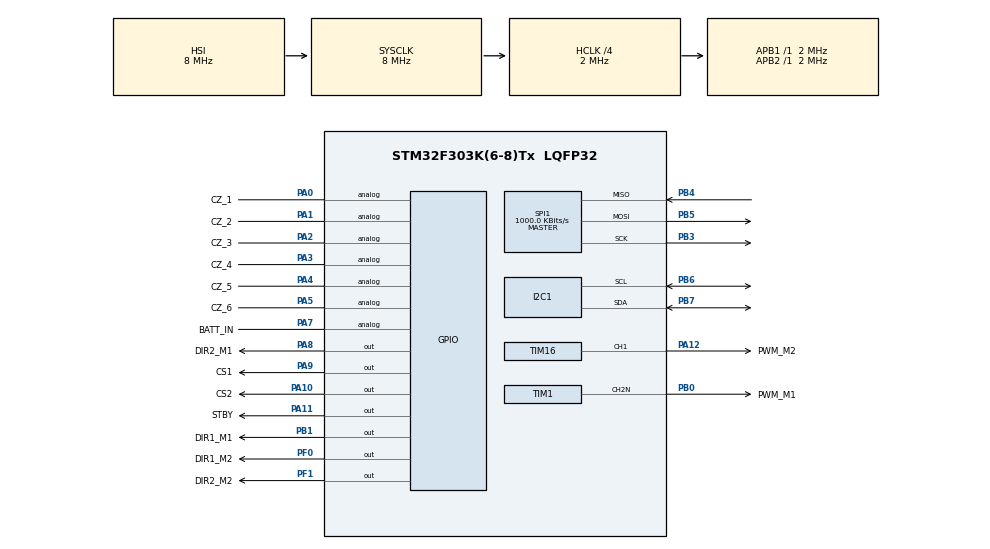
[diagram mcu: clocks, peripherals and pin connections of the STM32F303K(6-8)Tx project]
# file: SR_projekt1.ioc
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Mcu.Family=STM32F3
Mcu.Name=STM32F303K(6-8)Tx
Mcu.Package=LQFP32
NVIC.PriorityGroup=NVIC_PRIORITYGROUP_4
PA0.GPIO_Label=CZ_1
PA0.Signal=SharedAnalog_PA0
PA1.GPIO_Label=CZ_2
PA1.Signal=SharedAnalog_PA1
PA10.GPIO_Label=CS2
PA10.Signal=GPIO_Output
PA11.GPIO_Label=STBY
PA11.Signal=GPIO_Output
PA12.GPIO_Label=PWM_M2
PA12.Signal=S_TIM16_CH1
PA2.GPIO_Label=CZ_3
PA2.Signal=SharedAnalog_PA2
PA3.GPIO_Label=CZ_4
PA3.Signal=SharedAnalog_PA3
PA4.GPIO_Label=CZ_5
PA4.Signal=SharedAnalog_PA4
PA5.GPIO_Label=CZ_6
PA5.Signal=SharedAnalog_PA5
PA7.GPIO_Label=BATT_IN
PA7.Signal=SharedAnalog_PA7
PA8.GPIO_Label=DIR2_M1
PA8.Signal=GPIO_Output
PA9.GPIO_Label=CS1
PA9.Signal=GPIO_Output
PB0.GPIO_Label=PWM_M1
PB0.Mode=PWM Generation2 CH2N
PB0.Signal=TIM1_CH2N
PB1.GPIO_Label=DIR1_M1
PB1.Signal=GPIO_Output
PB3.Mode=Full_Duplex_Master
PB3.Signal=SPI1_SCK
PB4.Mode=Full_Duplex_Master
PB4.Signal=SPI1_MISO
PB5.Mode=Full_Duplex_Master
PB5.Signal=SPI1_MOSI
PB6.Mode=I2C
PB6.Signal=I2C1_SCL
PB7.Mode=I2C
PB7.Signal=I2C1_SDA
PF0\ /\ OSC_IN.GPIO_Label=DIR1_M2
PF0\ /\ OSC_IN.Signal=GPIO_Output
PF1\ /\ OSC_OUT.GPIO_Label=DIR2_M2
PF1\ /\ OSC_OUT.Signal=GPIO_Output
ProjectManager.HeapSize=0x200
ProjectManager.StackSize=0x400
ProjectManager.TargetToolchain=STM32CubeIDE
RCC.AHBCLKDivider=RCC_SYSCLK_DIV4
RCC.AHBFreq_Value=2000000
RCC.APB1Freq_Value=2000000
RCC.APB1TimFreq_Value=2000000
RCC.APB2Freq_Value=2000000
RCC.APB2TimFreq_Value=2000000
RCC.CortexFreq_Value=2000000
RCC.HCLKFreq_Value=2000000
RCC.HSE_VALUE=8000000
RCC.HSI_VALUE=8000000
RCC.SYSCLKFreq_VALUE=8000000
SH.S_TIM16_CH1.0=TIM16_CH1,PWM Generation1 CH1
SH.SharedAnalog_PA0.0=GPIO_Analog
SH.SharedAnalog_PA0.1=ADC1_IN1
SH.SharedAnalog_PA1.0=GPIO_Analog
SH.SharedAnalog_PA1.1=ADC1_IN2
SH.SharedAnalog_PA2.0=GPIO_Analog
SH.SharedAnalog_PA2.1=ADC1_IN3
SH.SharedAnalog_PA3.0=GPIO_Analog
SH.SharedAnalog_PA3.1=ADC1_IN4
SH.SharedAnalog_PA4.0=GPIO_Analog
SH.SharedAnalog_PA4.1=ADC2_IN1
SH.SharedAnalog_PA5.0=GPIO_Analog
SH.SharedAnalog_PA5.1=ADC2_IN2
SH.SharedAnalog_PA7.0=ADC2_IN4
SH.SharedAnalog_PA7.1=GPIO_Analog
SPI1.CalculateBaudRate=1000.0 KBits/s
SPI1.Direction=SPI_DIRECTION_2LINES
SPI1.Mode=SPI_MODE_MASTER
SPI1.VirtualType=VM_MASTER
TIM1.Channel-PWM\ Generation2\ CH2N=TIM_CHANNEL_2
TIM16.Channel=TIM_CHANNEL_1
VP_TIM16_VS_ClockSourceINT.Mode=Enable_Timer
VP_TIM17_VS_ClockSourceINT.Mode=Enable_Timer
board=custom

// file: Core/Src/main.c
/* USER CODE BEGIN Header */
/**
  ******************************************************************************
  * @file           : main.c
  * @brief          : Main program body
  ******************************************************************************
  * @attention
  *
  * <h2><center>&copy; Copyright (c) 2021 STMicroelectronics.
  * All rights reserved.</center></h2>
  *
  * This software component is licensed by ST under BSD 3-Clause license,
  * the "License"; You may not use this file except in compliance with the
  * License. You may obtain a copy of the License at:
  *                        opensource.org/licenses/BSD-3-Clause
  *
  ******************************************************************************
  */
/* USER CODE END Header */
#include "main.h"
#include "i2c.h"
#include "spi.h"
#include "tim.h"
#include "gpio.h"

/* USER CODE BEGIN PD */
#define MCP_IODIR		0x00
#define MCP_IPOL		0x01
#define MCP_GPINTEN		0x02
#define MCP_DEFVAL		0x03
#define MCP_INTCON		0x04
#define MCP_IOCON		0x05
#define MCP_GPPU		0x06
#define MCP_INTF		0x07
#define MCP_INTCAP		0x08
#define MCP_GPIO		0x09
#define MCP_OLAT		0x0a

#define OUT1H HAL_GPIO_WritePin(GPIOB, GPIO_PIN_4, GPIO_PIN_SET)
#define OUT1L HAL_GPIO_WritePin(GPIOB, GPIO_PIN_4, GPIO_PIN_RESET)

#define OUT2H HAL_GPIO_WritePin(GPIOB, GPIO_PIN_5, GPIO_PIN_SET)
#define OUT2L HAL_GPIO_WritePin(GPIOB, GPIO_PIN_5, GPIO_PIN_RESET)

#define OUT3H HAL_GPIO_WritePin(GPIOA, GPIO_PIN_11, GPIO_PIN_SET)
#define OUT3L HAL_GPIO_WritePin(GPIOA, GPIO_PIN_11, GPIO_PIN_RESET)

#define OUT4H HAL_GPIO_WritePin(GPIOA, GPIO_PIN_8, GPIO_PIN_SET)
#define OUT4L HAL_GPIO_WritePin(GPIOA, GPIO_PIN_8, GPIO_PIN_RESET)

#define OUT5H HAL_GPIO_WritePin(GPIOF, GPIO_PIN_1, GPIO_PIN_SET)
#define OUT5L HAL_GPIO_WritePin(GPIOF, GPIO_PIN_1, GPIO_PIN_RESET)

#define OUT6H HAL_GPIO_WritePin(GPIOF, GPIO_PIN_0, GPIO_PIN_SET)
#define OUT6L HAL_GPIO_WritePin(GPIOF, GPIO_PIN_0, GPIO_PIN_RESET)

#define DEL 1000
/* USER CODE END PD */

void SystemClock_Config(void);

/* USER CODE BEGIN 0 */

uint8_t spi_sendrecv(uint8_t byte){
	uint8_t answer;
	HAL_SPI_TransmitReceive(&hspi1, &byte, &answer, 1, HAL_MAX_DELAY);
	return answer;
}

uint8_t mcp_read_reg(uint8_t addr){
	uint8_t tx_buf[] = { 0x41, addr, 0xFF };
	uint8_t rx_buf[3];

	HAL_GPIO_WritePin(GPIOA, GPIO_PIN_4, GPIO_PIN_RESET);
	HAL_SPI_TransmitReceive(&hspi1, tx_buf, rx_buf, 3, HAL_MAX_DELAY);
	HAL_GPIO_WritePin(GPIOA, GPIO_PIN_4, GPIO_PIN_SET);

	return rx_buf[2];
}

void mcp_write_reg(uint8_t addr, uint8_t value){
	uint8_t tx_buf[] = { 0x40, addr, value };

	HAL_GPIO_WritePin(GPIOA, GPIO_PIN_4, GPIO_PIN_RESET);
	HAL_SPI_Transmit(&hspi1, tx_buf, 3, HAL_MAX_DELAY);
	HAL_GPIO_WritePin(GPIOA, GPIO_PIN_4, GPIO_PIN_SET);
}

/* USER CODE END 0 */

int main(void)
{

  /* MCU Configuration--------------------------------------------------------*/

  /* Reset of all peripherals, Initializes the Flash interface and the Systick. */
  HAL_Init();

  /* Configure the system clock */
  SystemClock_Config();

  /* Initialize all configured peripherals */
  MX_GPIO_Init();
  MX_TIM16_Init();
  MX_TIM17_Init();
  MX_I2C1_Init();
  MX_TIM1_Init();
  MX_SPI1_Init();
  /* USER CODE BEGIN 2 */

	 __HAL_SPI_ENABLE(&hspi1);
	 //mcp_write_reg(MCP_IODIR, ~0x01);
	 mcp_write_reg(MCP_IODIR, 0xFF);
	 mcp_write_reg(MCP_GPPU, 0xFF);

	 volatile int dly=0;
	 uint8_t REG;
	 uint8_t order[] ={ 0x01 , 0x02 , 0x04 , 0x08 , 0x10 , 0x20 , 0x40 , 0x80 };

  /* USER CODE END 2 */

  /* Infinite loop */
  /* USER CODE BEGIN WHILE */
  while (1)
  {
	  /*
	  for( int i=0x00 ; i<=0x07 ; i++){
	  			mcp_write_reg(MCP_OLAT, i);
	  			HAL_Delay(DEL);
	  }*/

	  REG = mcp_read_reg(MCP_GPIO);
	   	  // Czujnik nr 1
	  for(int i=0 ; i<6 ; i++){
		  if((mcp_read_reg(MCP_GPIO) & order[i]) == order[i] )
			  switch(i){
			  case 0:
				  OUT1H;
				  break;
			  case 1:
				  OUT2H;
				  break;
			  case 2:
				  OUT3H;
				  break;
			  case 3:
				  OUT4H;
				  break;
			  case 4:
				  OUT5H;
				  break;
			  case 5:
				  OUT6H;
				  break;
			  }
		  else
			  switch(i){
			  case 0:
				  OUT1L;
				  break;
			  case 1:
				  OUT2L;
				  break;
			  case 2:
				  OUT3L;
				  break;
			  case 3:
				  OUT4L;
				  break;
			  case 4:
				  OUT5L;
				  break;
			  case 5:
				  OUT6L;
				  break;
			  }
	  }

	  /*  // Czujnik nr 2
	  for(int i=0 ; i<8 ; i++){
	  		  if(REG == ((1<<i)||1) )
	  			  OUT2H;
	  		  else
	  			  OUT2L;
	  	  }

		 // Czujnik nr 3
	  for(int i=0 ; i<8 ; i++){
	  		  if(REG == ((1<<i)||1) )
	  			  OUT3H;
	  		  else
	  			  OUT3L;
	  	  }

		 // Czujnik nr 4
	  for(int i=0 ; i<8 ; i++){
	  		  if(REG == ((1<<i)||1) )
	  			  OUT4H;
	  		  else
	  			  OUT4L;
	  	  }

		 // Czujnik nr 5
	  for(int i=0 ; i<8 ; i++){
	  		  if(REG == ((1<<i)||1) )
	  			  OUT5H;
	  		  else
	  			  OUT5L;
	  	  }

		 // Czujnik nr 6
	  for(int i=0 ; i<8 ; i++){
	  		  if(REG == ((1<<i)||1) )
	  			  OUT6H;
	  		  else
	  			  OUT6L;
	  	  }
*/

    /* USER CODE END WHILE */

  }
}

void SystemClock_Config(void)
{
  RCC_OscInitTypeDef RCC_OscInitStruct = {0};
  RCC_ClkInitTypeDef RCC_ClkInitStruct = {0};
  RCC_PeriphCLKInitTypeDef PeriphClkInit = {0};

  /** Initializes the RCC Oscillators according to the specified parameters
  * in the RCC_OscInitTypeDef structure.
  */
  RCC_OscInitStruct.OscillatorType = RCC_OSCILLATORTYPE_HSI;
  RCC_OscInitStruct.HSIState = RCC_HSI_ON;
  RCC_OscInitStruct.HSICalibrationValue = RCC_HSICALIBRATION_DEFAULT;
  RCC_OscInitStruct.PLL.PLLState = RCC_PLL_NONE;
  if (HAL_RCC_OscConfig(&RCC_OscInitStruct) != HAL_OK)
  {
    Error_Handler();
  }
  /** Initializes the CPU, AHB and APB buses clocks
  */
  RCC_ClkInitStruct.ClockType = RCC_CLOCKTYPE_HCLK|RCC_CLOCKTYPE_SYSCLK
                              |RCC_CLOCKTYPE_PCLK1|RCC_CLOCKTYPE_PCLK2;
  RCC_ClkInitStruct.SYSCLKSource = RCC_SYSCLKSOURCE_HSI;
  RCC_ClkInitStruct.AHBCLKDivider = RCC_SYSCLK_DIV4;
  RCC_ClkInitStruct.APB1CLKDivider = RCC_HCLK_DIV1;
  RCC_ClkInitStruct.APB2CLKDivider = RCC_HCLK_DIV1;

  if (HAL_RCC_ClockConfig(&RCC_ClkInitStruct, FLASH_LATENCY_0) != HAL_OK)
  {
    Error_Handler();
  }
  PeriphClkInit.PeriphClockSelection = RCC_PERIPHCLK_I2C1|RCC_PERIPHCLK_TIM1;
  PeriphClkInit.I2c1ClockSelection = RCC_I2C1CLKSOURCE_HSI;
  PeriphClkInit.Tim1ClockSelection = RCC_TIM1CLK_HCLK;
  if (HAL_RCCEx_PeriphCLKConfig(&PeriphClkInit) != HAL_OK)
  {
    Error_Handler();
  }
}

void Error_Handler(void)
{
  __disable_irq();
  while (1)
  {
  }
}

/************************ (C) COPYRIGHT STMicroelectronics *****END OF FILE****/
